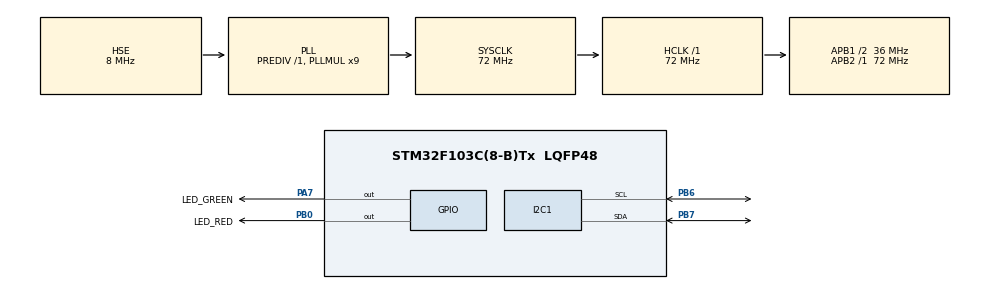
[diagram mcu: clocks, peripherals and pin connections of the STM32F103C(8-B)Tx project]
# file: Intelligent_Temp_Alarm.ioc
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FREERTOS.Mutexes01=I2C_Mutex,Dynamic,NULL,Available
FREERTOS.Queues01=OLED_Queue,16,WeatherData,0,Dynamic,NULL,NULL
FREERTOS.Tasks01=LED_Task,40,128,StartLEDTask,Default,NULL,Dynamic,NULL,NULL;OLED_Task,24,1024,StartOLEDTask,Default,NULL,Dynamic,NULL,NULL;Tem_Task,8,128,StartTemTask,Default,NULL,Dynamic,NULL,NULL
FREERTOS.configTOTAL_HEAP_SIZE=8192
Mcu.Family=STM32F1
Mcu.Name=STM32F103C(8-B)Tx
Mcu.Package=LQFP48
NVIC.PriorityGroup=NVIC_PRIORITYGROUP_4
NVIC.TIM4_IRQn=true\:15\:0\:false\:false\:true\:false\:false\:true\:true
NVIC.TimeBase=TIM4_IRQn
NVIC.TimeBaseIP=TIM4
PA13.Mode=Serial_Wire
PA13.Signal=SYS_JTMS-SWDIO
PA14.Mode=Serial_Wire
PA14.Signal=SYS_JTCK-SWCLK
PA7.GPIO_Label=LED_GREEN
PA7.Signal=GPIO_Output
PB0.GPIO_Label=LED_RED
PB0.Signal=GPIO_Output
PB6.Mode=I2C
PB6.Signal=I2C1_SCL
PB7.Mode=I2C
PB7.Signal=I2C1_SDA
PD0-OSC_IN.Mode=HSE-External-Oscillator
PD0-OSC_IN.Signal=RCC_OSC_IN
PD1-OSC_OUT.Mode=HSE-External-Oscillator
PD1-OSC_OUT.Signal=RCC_OSC_OUT
ProjectManager.HeapSize=0x200
ProjectManager.StackSize=0x400
ProjectManager.TargetToolchain=CMake
RCC.AHBFreq_Value=72000000
RCC.APB1CLKDivider=RCC_HCLK_DIV2
RCC.APB1Freq_Value=36000000
RCC.APB1TimFreq_Value=72000000
RCC.APB2Freq_Value=72000000
RCC.APB2TimFreq_Value=72000000
RCC.HCLKFreq_Value=72000000
RCC.PLLMUL=RCC_PLL_MUL9
RCC.PLLSourceVirtual=RCC_PLLSOURCE_HSE
RCC.SYSCLKFreq_VALUE=72000000
RCC.SYSCLKSource=RCC_SYSCLKSOURCE_PLLCLK
RCC.USBFreq_Value=72000000
VP_FREERTOS_VS_CMSIS_V2.Mode=CMSIS_V2
VP_SYS_VS_tim4.Mode=TIM4
board=custom

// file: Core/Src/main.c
/* USER CODE BEGIN Header */
/**
  ******************************************************************************
  * @file           : main.c
  * @brief          : Main program body
  ******************************************************************************
  * @attention
  *
  * Copyright (c) 2026 STMicroelectronics.
  * All rights reserved.
  *
  * This software is licensed under terms that can be found in the LICENSE file
  * in the root directory of this software component.
  * If no LICENSE file comes with this software, it is provided AS-IS.
  *
  ******************************************************************************
  */
/* USER CODE END Header */
#include "main.h"
#include "cmsis_os.h"
#include "i2c.h"
#include "gpio.h"

void SystemClock_Config(void);
void MX_FREERTOS_Init(void);

int main(void)
{

  /* MCU Configuration--------------------------------------------------------*/

  /* Reset of all peripherals, Initializes the Flash interface and the Systick. */
  HAL_Init();

  /* Configure the system clock */
  SystemClock_Config();

  /* Initialize all configured peripherals */
  MX_GPIO_Init();
  MX_I2C1_Init();

  /* Init scheduler */
  osKernelInitialize();  /* Call init function for freertos objects (in cmsis_os2.c) */
  MX_FREERTOS_Init();

  /* Start scheduler */
  osKernelStart();

  /* We should never get here as control is now taken by the scheduler */

  /* Infinite loop */
  while (1)
  {

  }
}

void SystemClock_Config(void)
{
  RCC_OscInitTypeDef RCC_OscInitStruct = {0};
  RCC_ClkInitTypeDef RCC_ClkInitStruct = {0};

  /** Initializes the RCC Oscillators according to the specified parameters
  * in the RCC_OscInitTypeDef structure.
  */
  RCC_OscInitStruct.OscillatorType = RCC_OSCILLATORTYPE_HSE;
  RCC_OscInitStruct.HSEState = RCC_HSE_ON;
  RCC_OscInitStruct.HSEPredivValue = RCC_HSE_PREDIV_DIV1;
  RCC_OscInitStruct.HSIState = RCC_HSI_ON;
  RCC_OscInitStruct.PLL.PLLState = RCC_PLL_ON;
  RCC_OscInitStruct.PLL.PLLSource = RCC_PLLSOURCE_HSE;
  RCC_OscInitStruct.PLL.PLLMUL = RCC_PLL_MUL9;
  if (HAL_RCC_OscConfig(&RCC_OscInitStruct) != HAL_OK)
  {
    Error_Handler();
  }

  /** Initializes the CPU, AHB and APB buses clocks
  */
  RCC_ClkInitStruct.ClockType = RCC_CLOCKTYPE_HCLK|RCC_CLOCKTYPE_SYSCLK
                              |RCC_CLOCKTYPE_PCLK1|RCC_CLOCKTYPE_PCLK2;
  RCC_ClkInitStruct.SYSCLKSource = RCC_SYSCLKSOURCE_PLLCLK;
  RCC_ClkInitStruct.AHBCLKDivider = RCC_SYSCLK_DIV1;
  RCC_ClkInitStruct.APB1CLKDivider = RCC_HCLK_DIV2;
  RCC_ClkInitStruct.APB2CLKDivider = RCC_HCLK_DIV1;

  if (HAL_RCC_ClockConfig(&RCC_ClkInitStruct, FLASH_LATENCY_2) != HAL_OK)
  {
    Error_Handler();
  }
}

void HAL_TIM_PeriodElapsedCallback(TIM_HandleTypeDef *htim)
{
  if (htim->Instance == TIM4)
  {
    HAL_IncTick();
  }
}

void Error_Handler(void)
{
  __disable_irq();
  while (1)
  {
  }
}

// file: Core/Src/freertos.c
/* USER CODE BEGIN Header */
/**
  ******************************************************************************
  * File Name          : freertos.c
  * Description        : Code for freertos applications
  ******************************************************************************
  * @attention
  *
  * Copyright (c) 2026 STMicroelectronics.
  * All rights reserved.
  *
  * This software is licensed under terms that can be found in the LICENSE file
  * in the root directory of this software component.
  * If no LICENSE file comes with this software, it is provided AS-IS.
  *
  ******************************************************************************
  */
/* USER CODE END Header */

#include "FreeRTOS.h"
#include "task.h"
#include "main.h"
#include "cmsis_os.h"

/* USER CODE BEGIN Includes */

#include "aht20.h"
#include "stdio.h"
#include <string.h>
/* USER CODE END Includes */

/* USER CODE BEGIN Variables */
#include <stdbool.h>

#include "oled.h"
volatile bool is_overheat = false;
/* USER CODE END Variables */
/* Definitions for LED_Task */
osThreadId_t LED_TaskHandle;
const osThreadAttr_t LED_Task_attributes = {
  .name = "LED_Task",
  .stack_size = 128 * 4,
  .priority = (osPriority_t) osPriorityHigh,
};
/* Definitions for OLED_Task */
osThreadId_t OLED_TaskHandle;
const osThreadAttr_t OLED_Task_attributes = {
  .name = "OLED_Task",
  .stack_size = 1024 * 4,
  .priority = (osPriority_t) osPriorityNormal,
};
/* Definitions for Tem_Task */
osThreadId_t Tem_TaskHandle;
const osThreadAttr_t Tem_Task_attributes = {
  .name = "Tem_Task",
  .stack_size = 128 * 4,
  .priority = (osPriority_t) osPriorityLow,
};
/* Definitions for OLED_Queue */
osMessageQueueId_t OLED_QueueHandle;
const osMessageQueueAttr_t OLED_Queue_attributes = {
  .name = "OLED_Queue"
};
/* Definitions for I2C_Mutex */
osMutexId_t I2C_MutexHandle;
const osMutexAttr_t I2C_Mutex_attributes = {
  .name = "I2C_Mutex"
};

void StartLEDTask(void *argument);
void StartOLEDTask(void *argument);
void StartTemTask(void *argument);

void MX_FREERTOS_Init(void); /* (MISRA C 2004 rule 8.1) */

void MX_FREERTOS_Init(void) {
  /* Create the mutex(es) */
  /* creation of I2C_Mutex */
  I2C_MutexHandle = osMutexNew(&I2C_Mutex_attributes);

  /* Create the queue(s) */
  /* creation of OLED_Queue */
  OLED_QueueHandle = osMessageQueueNew (16, sizeof(WeatherData), &OLED_Queue_attributes);

  /* Create the thread(s) */
  /* creation of LED_Task */
  LED_TaskHandle = osThreadNew(StartLEDTask, NULL, &LED_Task_attributes);

  /* creation of OLED_Task */
  OLED_TaskHandle = osThreadNew(StartOLEDTask, NULL, &OLED_Task_attributes);

  /* creation of Tem_Task */
  Tem_TaskHandle = osThreadNew(StartTemTask, NULL, &Tem_Task_attributes);

}

void StartLEDTask(void *argument)
{
  /* USER CODE BEGIN StartLEDTask */
  //初始化:確保LED一開始都是關閉的
  HAL_GPIO_WritePin(LED_RED_GPIO_Port, LED_RED_Pin, GPIO_PIN_RESET);
  HAL_GPIO_WritePin(LED_GREEN_GPIO_Port, LED_GREEN_Pin, GPIO_PIN_RESET);
  /* Infinite loop */
  for(;;)
  {
    if (is_overheat)
    {
      //溫度異常，關閉綠燈，紅燈toggle(100ms)
      HAL_GPIO_WritePin(LED_GREEN_GPIO_Port, LED_GREEN_Pin, GPIO_PIN_RESET);
      HAL_GPIO_TogglePin(LED_RED_GPIO_Port, LED_RED_Pin);
      osDelay(100);
    }
    else
    {
      //正常狀態，關閉紅燈，綠燈慢慢閃爍(500ms)
      HAL_GPIO_WritePin(LED_RED_GPIO_Port, LED_RED_Pin, GPIO_PIN_RESET);
      HAL_GPIO_TogglePin(LED_GREEN_GPIO_Port, LED_GREEN_Pin);
      osDelay(500);
    }
  }
  /* USER CODE END StartLEDTask */
}

void StartOLEDTask(void *argument)
{
  /* USER CODE BEGIN StartOLEDTask */
  WeatherData receiveData;
  char tempStr[20];
  char humStr[20];

  osSemaphoreAcquire(I2C_MutexHandle,osWaitForever);
  OLED_Init();
  osSemaphoreRelease(I2C_MutexHandle);

  /* Infinite loop */
  for(;;)
  {
    if (osMessageQueueGet(OLED_QueueHandle,&receiveData,NULL,osWaitForever) == osOK)
    {
      sprintf(tempStr,"Temp: %.1f C",receiveData.temperature);
      sprintf(humStr,"Humid: %.1f %%",receiveData.humidity);

      osSemaphoreAcquire(I2C_MutexHandle,osWaitForever);

      OLED_NewFrame();//開始畫新圖

      OLED_PrintString(0,0,tempStr,&font16x16,OLED_COLOR_NORMAL);
      OLED_PrintString(0,18,humStr,&font16x16,OLED_COLOR_NORMAL);
      //讓圖片顯示變久，強化RTOS的重要性。
      for (int i=0;i<10000000;++i)
      {

      }
      OLED_ShowFrame();

      osSemaphoreRelease(I2C_MutexHandle);
    }
  }
  /* USER CODE END StartOLEDTask */
}

void StartTemTask(void *argument)
{
  /* USER CODE BEGIN StartTemTask */
  AHT20_Init();

  WeatherData data;
  /* Infinite loop */
  for(;;)
  {
    AHT20_Read(&data.temperature,&data.humidity);

    if (data.temperature > 27.5f) {
      is_overheat = true;
    } else {
      is_overheat = false;
    }

    osMessageQueuePut(OLED_QueueHandle, &data, 0, 0);
    osDelay(2000);
  }
  /* USER CODE END StartTemTask */
}
